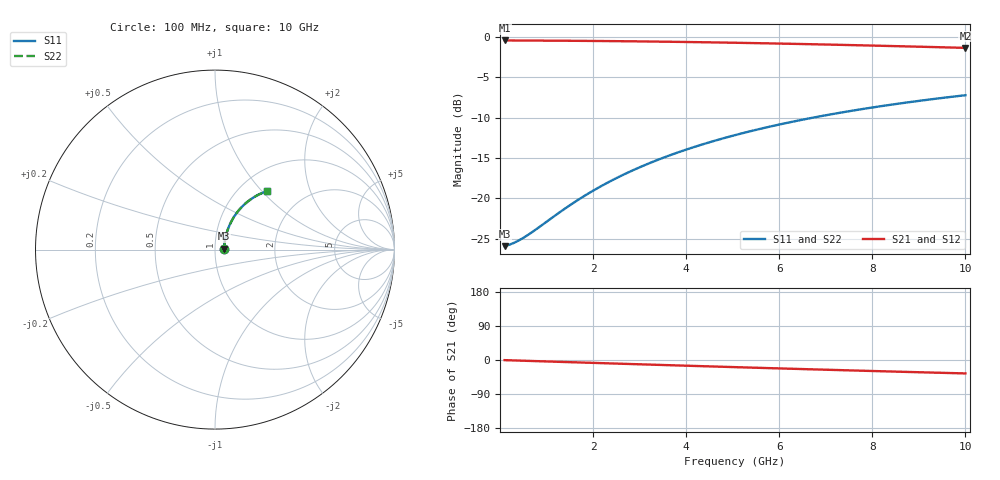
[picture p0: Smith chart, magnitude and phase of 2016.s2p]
# Hz S RI R 50.00
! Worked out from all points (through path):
!   100 points, 100 MHz to 10 GHz, reference 50 ohm
!   highest |S21| = -0.45 dB at 100 MHz (marker M1); lowest = -1.4 dB at 10 GHz (marker M2)
!   group delay of S21, straight-line fit = 9.88 ps
!   lowest |S11| = -25.9 dB at 100 MHz (marker M3), VSWR 1.11, Z = 55.3 + j0.514 ohm
!   |S11| at or under -10 dB: start of sweep to 6.73 GHz
!   |S22| runs from -25.9 to -7.2 dB; largest |S21 - S12| = 0
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1e8  0.0504 0.00464  0.9496 -0.00632  0.9496 -0.00632  0.0504 0.00464
2e8  0.0508 0.00926  0.9492 -0.0126  0.9492 -0.0126  0.0508 0.00926
3e8  0.0512 0.0139  0.9488 -0.0189  0.9488 -0.0189  0.0512 0.0139
4e8  0.0516 0.0185  0.9483 -0.0252  0.9483 -0.0252  0.0516 0.0185
5e8  0.0521 0.0231  0.9479 -0.0315  0.9479 -0.0315  0.0521 0.0231
7e8  0.0531 0.0323  0.9469 -0.0441  0.9469 -0.0441  0.0531 0.0323
1.4e9  0.0582 0.0641  0.9415 -0.0877  0.9415 -0.0877  0.0582 0.0641
1.8e9  0.0624 0.082  0.9372 -0.1123  0.9372 -0.1123  0.0624 0.082
2.2e9  0.0674 0.0996  0.9319 -0.1366  0.9319 -0.1366  0.0674 0.0996
2.6e9  0.0733 0.1168  0.9257 -0.1606  0.9257 -0.1606  0.0733 0.1168
3e9  0.08 0.1336  0.9186 -0.1841  0.9186 -0.1841  0.08 0.1336
3.4e9  0.0876 0.1499  0.9107 -0.2072  0.9107 -0.2072  0.0876 0.1499
3.8e9  0.0959 0.1658  0.9019 -0.2297  0.9019 -0.2297  0.0959 0.1658
4.2e9  0.105 0.181  0.8924 -0.2518  0.8924 -0.2518  0.105 0.181
4.6e9  0.1147 0.1957  0.8821 -0.2732  0.8821 -0.2732  0.1147 0.1957
5.1e9  0.1278 0.2131  0.8683 -0.2991  0.8683 -0.2991  0.1278 0.2131
5.9e9  0.1506 0.2389  0.8442 -0.3384  0.8442 -0.3384  0.1506 0.2389
6.7e9  0.1753 0.2618  0.818 -0.375  0.818 -0.375  0.1753 0.2618
7.5e9  0.2015 0.2817  0.7901 -0.4086  0.7901 -0.4086  0.2015 0.2817
8.4e9  0.2323 0.3007  0.7572 -0.443  0.7572 -0.443  0.2323 0.3007
9.2e9  0.2605 0.3144  0.7269 -0.4705  0.7269 -0.4705  0.2605 0.3144
1e10  0.289 0.3252  0.696 -0.4952  0.696 -0.4952  0.289 0.3252
